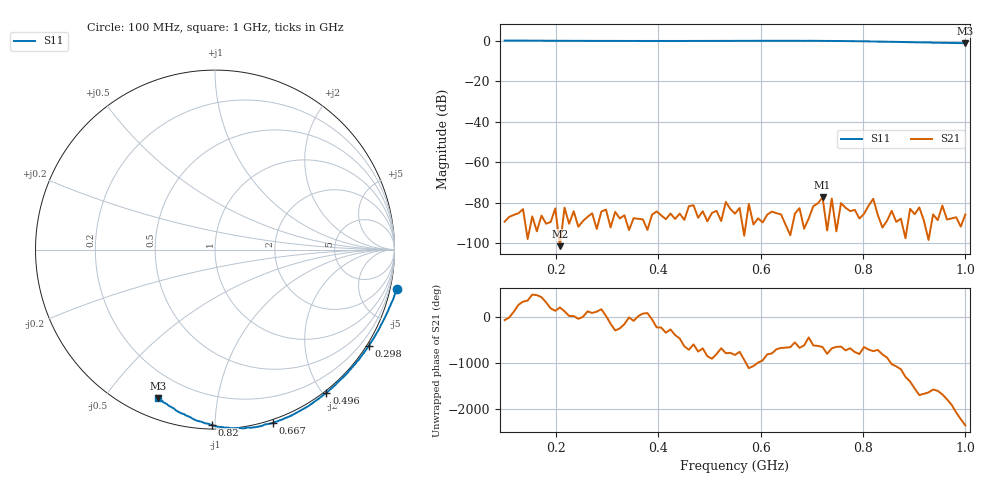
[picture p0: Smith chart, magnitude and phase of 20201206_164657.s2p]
# HZ S RI R 50
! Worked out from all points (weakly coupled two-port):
!   101 points, 100 MHz to 1 GHz, reference 50 ohm
!   highest |S21| = -77.37 dB at 721 MHz (marker M1); lowest = -101.5 dB at 208 MHz (marker M2)
!   lowest |S11| = -1.0 dB at 1 GHz (marker M3), VSWR 16.58, Z = 4.43 - j34.2 ohm
!   |S11| at or under -10 dB: nowhere
!   S12 and S22 are empty: the file has one direction only
!   S11 on the Smith chart (normalised r, x): 100 MHz: -1.54, -9.12; 298 MHz: -0.07, -3.48; 496 MHz: -0.03, -2.04; 667 MHz: -0.03, -1.39; 820 MHz: 0.02, -0.98; 1 GHz: 0.09, -0.68
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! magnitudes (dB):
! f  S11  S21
! 100 MHz  0.3  -89.4
! 208 MHz  0.2  -101.5
! 253 MHz  0.1  -89.0
! 298 MHz  0.1  -83.4
! 406 MHz  0.1  -86.3
! 496 MHz  0.1  -89.2
! 523 MHz  0.1  -89.1
! 532 MHz  0.1  -79.6
! 541 MHz  0.1  -83.1
! 550 MHz  0.1  -85.4
! 667 MHz  0.2  -85.4
! 703 MHz  0.1  -81.7
! 712 MHz  0.1  -80.3
! 721 MHz  0.1  -77.4
! 730 MHz  0.1  -93.7
! 739 MHz  0.1  -77.9
! 748 MHz  0.0  -94.2
! 811 MHz  -0.2  -81.5
! 820 MHz  -0.2  -78.0
! 829 MHz  -0.3  -86.1
! 856 MHz  -0.4  -84.0
! 1 GHz  -1.0  -85.8
